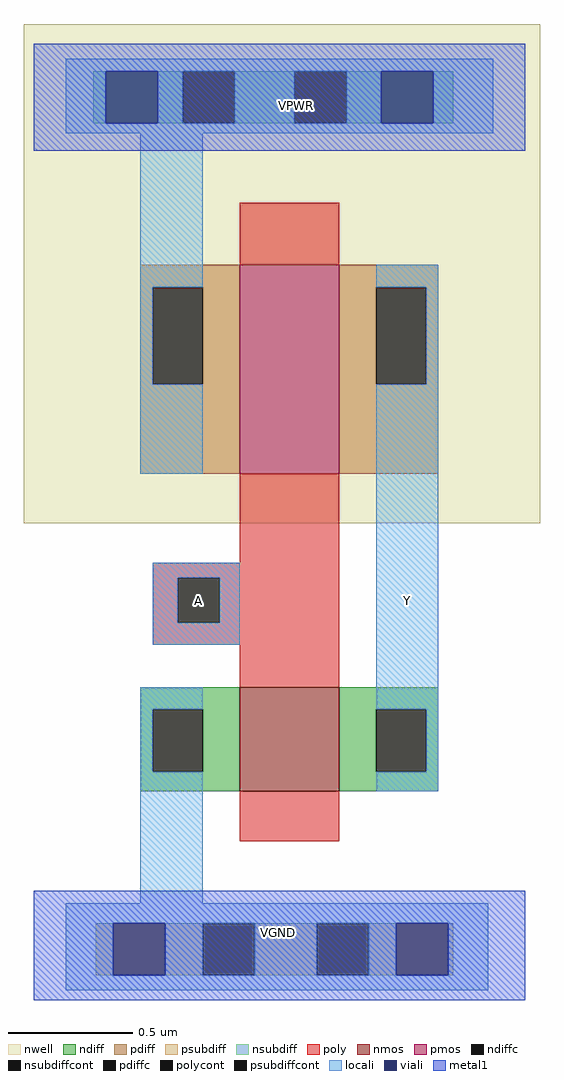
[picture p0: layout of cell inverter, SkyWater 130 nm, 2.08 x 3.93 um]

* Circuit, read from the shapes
.subckt inverter A Y VPWR VGND
XM1 Y A VGND VGND sky130_fd_pr__nfet_01v8 w=0.42 l=0.4
XM2 Y A VPWR VPWR sky130_fd_pr__pfet_01v8 w=0.84 l=0.4
.ends

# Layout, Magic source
magic
tech sky130A
<< nwell >>
rect -87 -62 121 139
<< nmos >>
rect 0 -170 40 -128
<< pmos >>
rect 0 -42 40 42
<< ndiff >>
rect -40 -137 0 -128
rect -40 -162 -35 -137
rect -15 -162 0 -137
rect -40 -170 0 -162
rect 40 -137 80 -128
rect 40 -162 55 -137
rect 75 -162 80 -137
rect 40 -170 80 -162
<< pdiff >>
rect -40 33 0 42
rect -40 -6 -35 33
rect -15 -6 0 33
rect -40 -42 0 -6
rect 40 33 80 42
rect 40 -6 55 33
rect 75 -6 80 33
rect 40 -42 80 -6
<< ndiffc >>
rect -35 -162 -15 -137
rect 55 -162 75 -137
<< pdiffc >>
rect -35 -6 -15 33
rect 55 -6 75 33
<< psubdiff >>
rect -58 -244 -15 -223
rect 6 -244 31 -223
rect 52 -244 86 -223
<< nsubdiff >>
rect -59 99 -23 120
rect -2 99 22 120
rect 43 99 86 120
<< psubdiffcont >>
rect -15 -244 6 -223
rect 31 -244 52 -223
<< nsubdiffcont >>
rect -23 99 -2 120
rect 22 99 43 120
<< poly >>
rect 0 42 40 67
rect 0 -78 40 -42
rect -35 -84 40 -78
rect -35 -102 -25 -84
rect -8 -102 40 -84
rect -35 -111 40 -102
rect 0 -128 40 -111
rect 0 -190 40 -170
<< polycont >>
rect -25 -102 -8 -84
<< locali >>
rect -70 120 102 125
rect -70 99 -54 120
rect -33 99 -23 120
rect -2 99 22 120
rect 43 99 57 120
rect 78 99 102 120
rect -70 95 102 99
rect -40 33 -15 95
rect -40 -6 -35 33
rect -40 -42 -15 -6
rect 55 33 80 42
rect 75 -6 80 33
rect -35 -84 0 -78
rect -35 -102 -25 -84
rect -8 -102 0 -84
rect -35 -111 0 -102
rect -40 -137 -15 -128
rect -40 -162 -35 -137
rect -40 -215 -15 -162
rect 55 -137 80 -6
rect 75 -162 80 -137
rect 55 -170 80 -162
rect -70 -223 100 -215
rect -70 -244 -51 -223
rect -30 -244 -15 -223
rect 6 -244 31 -223
rect 52 -244 63 -223
rect 84 -244 100 -223
rect -70 -250 100 -244
<< viali >>
rect -54 99 -33 120
rect 57 99 78 120
rect -51 -244 -30 -223
rect 63 -244 84 -223
<< metal1 >>
rect -83 120 115 131
rect -83 99 -54 120
rect -33 99 57 120
rect 78 99 115 120
rect -83 88 115 99
rect -83 -223 115 -210
rect -83 -244 -51 -223
rect -30 -244 63 -223
rect 84 -244 115 -223
rect -83 -254 115 -244
<< labels >>
flabel metal1 s -10 98 56 114 0 FreeSans 120 0 0 0 VPWR
port 5 nsew
flabel metal1 s -13 -235 44 -219 0 FreeSans 120 0 0 0 VGND
port 6 nsew
flabel locali s 55 -103 80 -83 0 FreeSans 120 0 0 0 Y
port 3 nsew
flabel locali s -25 -102 -8 -84 0 FreeSans 120 0 0 0 A
port 1 nsew
<< end >>
